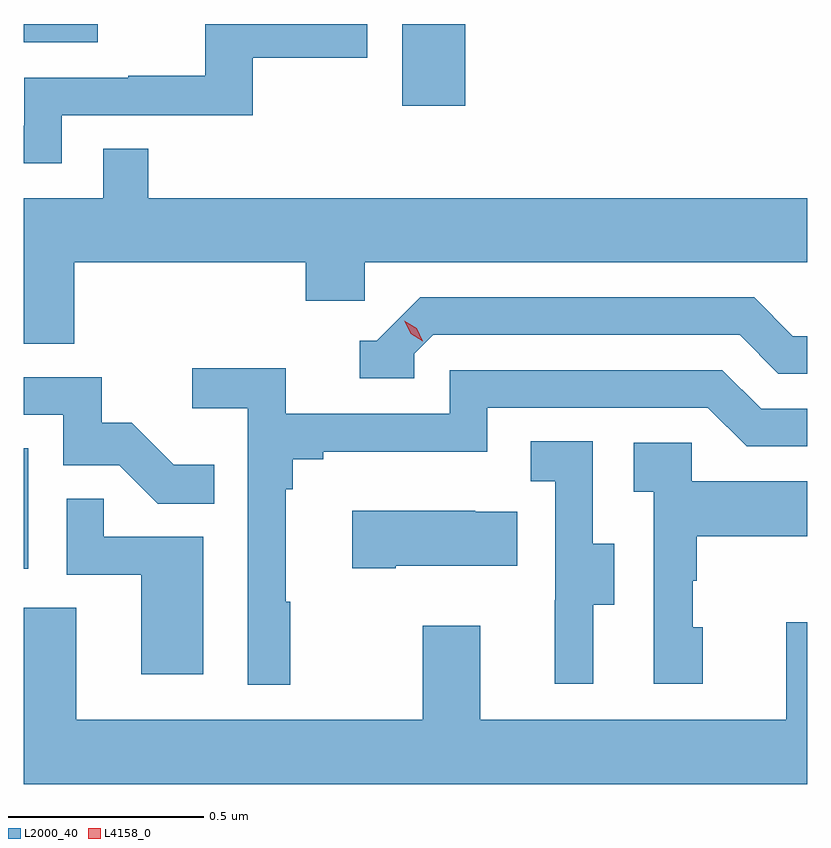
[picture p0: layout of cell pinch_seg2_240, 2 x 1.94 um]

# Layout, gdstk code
import gdstk
lib = gdstk.Library(unit=1e-6, precision=1e-09)
def R(c, l, rs):  # rectangles x0, y0, x1, y1
    for r in rs: c.add(gdstk.rectangle(r[:2], r[2:], *l))
def P(c, l, *ps):  # polygons
    for p in ps: c.add(gdstk.Polygon(p, *l))
L2000_40 = (2000, 40)
L4158_0 = (4158, 0)

pinch_seg2_240 = lib.new_cell('pinch_seg2_240')
R(pinch_seg2_240, L2000_40, [(925.379,649.518,925.39,649.825), (926.345,650.7,926.506,650.909), (925.379,650.862,925.568,650.909)])
P(pinch_seg2_240, L2000_40, [(925.476,650.676),(925.963,650.676),(925.963,650.823),(926.256,650.823),(926.256,650.909),(925.842,650.909),(925.842,650.777),(925.645,650.777),(925.645,650.772),(925.38,650.772),(925.38,650.649),(925.379,650.649),(925.379,650.553),(925.476,650.553)],
  [(925.508,650.3),(926.099,650.3),(926.099,650.202),(926.25,650.202),(926.25,650.3),(927.379,650.3),(927.379,650.464),(925.697,650.464),(925.697,650.591),(925.581,650.591),(925.581,650.464),(925.379,650.464),(925.379,650.092),(925.508,650.092)],
  [(926.376,650.067),(926.424,650.115),(927.207,650.115),(927.306,650.016),(927.379,650.016),(927.379,650.112),(927.343,650.112),(927.244,650.211),(926.391,650.211),(926.28,650.1),(926.237,650.1),(926.237,650.004),(926.376,650.004)],
  [(926.059,649.433),(926.047,649.433),(926.047,649.721),(926.066,649.721),(926.066,649.798),(926.143,649.798),(926.143,649.817),(926.562,649.817),(926.562,649.929),(927.126,649.929),(927.225,649.83),(927.379,649.83),(927.379,649.926),(927.262,649.926),(927.163,650.025),(926.466,650.025),(926.466,649.914),(926.048,649.914),(926.048,650.03),(925.809,650.03),(925.809,649.928),(925.95,649.928),(925.95,649.221),(926.059,649.221)],
  [(925.865,649.783),(925.761,649.783),(925.654,649.89),(925.578,649.89),(925.578,650.007),(925.379,650.007),(925.379,649.911),(925.479,649.911),(925.479,649.782),(925.623,649.782),(925.721,649.684),(925.865,649.684)],
  [(926.833,649.426),(926.887,649.426),(926.887,649.581),(926.832,649.581),(926.832,649.844),(926.673,649.844),(926.673,649.741),(926.736,649.741),(926.736,649.437),(926.735,649.437),(926.735,649.224),(926.833,649.224)],
  [(927.112,649.368),(927.087,649.368),(927.087,649.487),(927.097,649.487),(927.097,649.601),(927.379,649.601),(927.379,649.741),(927.084,649.741),(927.084,649.839),(926.937,649.839),(926.937,649.715),(926.988,649.715),(926.988,649.224),(927.112,649.224)],
  [(925.837,649.599),(925.583,649.599),(925.583,649.697),(925.488,649.697),(925.488,649.503),(925.679,649.503),(925.679,649.248),(925.837,649.248)],
  [(926.329,649.526),(926.639,649.526),(926.639,649.663),(926.531,649.663),(926.531,649.666),(926.217,649.666),(926.217,649.519),(926.329,649.519)],
  [(927.379,649.381),(927.326,649.381),(927.326,649.132),(926.545,649.132),(926.545,649.372),(926.398,649.372),(926.398,649.132),(925.513,649.132),(925.513,649.418),(925.379,649.418),(925.379,648.968),(927.379,648.968)])
P(pinch_seg2_240, L4158_0, [(926.398,650.099),(926.367,650.118),(926.35,650.151),(926.35,650.151),(926.35,650.151),(926.382,650.132),(926.398,650.099),(926.398,650.099)])

lib.write_gds('pinch_seg2_240.gds')
